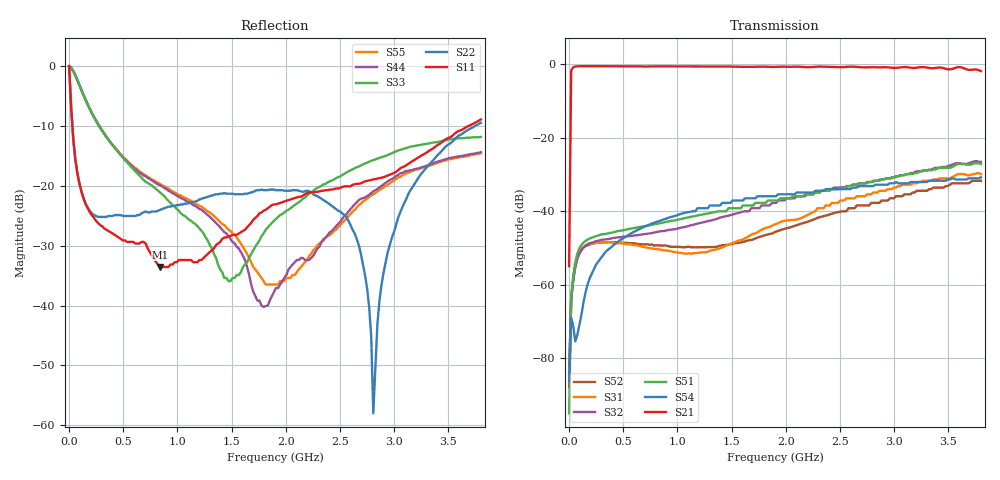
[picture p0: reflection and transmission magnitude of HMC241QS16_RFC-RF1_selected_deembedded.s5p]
!Hittite Microwave Corporation
!12 Elizabeth Drive
!Chelmsford, MA 01824
!Tel: 978-250-3343
!Fax: 978-250-3373
!Device: HMC241QS16, DC-3.5 GHz GaAs MMIC SP4T Non-Reflective Switch in 16 lead QSOP package
!Misc: Port 1 = RFC, Port 2 = RF1, Port 3 = RF2. Port 4 = RF3, Port 5 = RF 4, RF1 Selected, Bias: +5VDC, DEEMBEDDED TO THE PINS OF THE DEVICE
# MHZ S MA R 50
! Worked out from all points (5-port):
!   200 points, 10 kHz to 3.8 GHz, reference 50 ohm
!   strongest paths, dB at 10 kHz, 954.8 MHz, 1.91 GHz, 2.864 GHz, 3.8 GHz:
!     S21: -54.9, -0.6, -0.7, -0.9, -1.9
!     S54: -86.3, -41.5, -35.9, -32.8, -30.8
!     S51: -95.0, -42.6, -37.1, -31.7, -27.1
!     S32: -84.5, -44.9, -37.7, -31.4, -26.6
!     S31: -87.8, -51.0, -43.5, -34.4, -29.9
!     S52: -84.8, -49.7, -45.5, -37.7, -31.7
!   lowest |S11| = -33.6 dB at 840.2 MHz (marker M1), VSWR 1.04, Z = 52.1 - j0.0853 ohm
!   |S11| at or under -10 dB: 30.2 MHz to 3.686 GHz (3.656 GHz wide, 197 % of centre)
